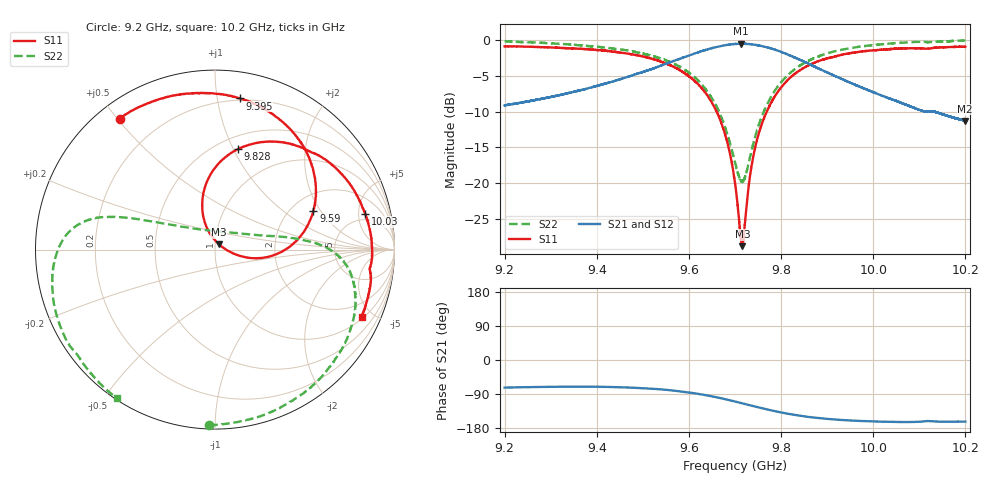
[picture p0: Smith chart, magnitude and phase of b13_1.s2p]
!Agilent Technologies,N5242A,MY51221714,A.09.90.19
!Agilent N5242A: A.09.90.19
!Date: Saturday, March 16, 2024 09:26:46
!Correction: S11(Full 2 Port(1,2))
!S21(Full 2 Port(1,2))
!S12(Full 2 Port(1,2))
!S22(Full 2 Port(1,2))
!S2P File: Measurements: S11, S21, S12, S22:
# Hz S  dB  R 50
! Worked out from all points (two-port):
!   16001 points, 9.2 GHz to 10.2 GHz, reference 50 ohm
!   highest |S21| = -0.52 dB at 9.712 GHz (marker M1); lowest = -11.3 dB at 10.2 GHz (marker M2)
!   |S21| within 3 dB of the highest: 9.541764 GHz to 9.54188 GHz (115.2 kHz wide, 0.00121 % of centre); 9.542 GHz to 9.866 GHz (324.1 MHz wide, 3.34 % of centre)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
!   lowest |S11| = -28.8 dB at 9.716 GHz (marker M3), VSWR 1.08, Z = 52.1 + j3.07 ohm
!   |S11| at or under -10 dB: 9.66 GHz to 9.769 GHz (108.8 MHz wide, 1.12 % of centre); 9.768982 GHz to 9.769009 GHz (26.89 kHz wide, 0.000275 % of centre)
!   |S22| runs from -19.9 to -0.1 dB; largest |S21 - S12| = 0.012
!   S11 on the Smith chart (normalised r, x): 9.2 GHz: 0.06, +0.51; 9.395 GHz: 0.19, +1.16; 9.59 GHz: 2.62, +1.71; 9.828 GHz: 0.62, +1.04; 10.03 GHz: 3.93, +6.02; 10.2 GHz: 1.12, -4.31
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9.2e9  -0.89 126.1  -9.14 -72.9  -9.12 -73.4  -0.18 -91.8
9.277562e9  -0.99 108.8  -8.25 -71.2  -8.23 -71.7  -0.39 -70.3
9.366688e9  -1.25 88.0  -6.99 -70.6  -6.96 -71.0  -0.76 -46.5
9.395375e9  -1.38 80.8  -6.52 -70.6  -6.48 -71.2  -0.92 -39.1
9.533375e9  -2.88 41.4  -3.72 -77.0  -3.71 -77.5  -2.46 -8.4
9.590312e9  -4.61 21.3  -2.39 -84.0  -2.38 -84.6  -4.13 1.1
9.661562e9  -10.21 -7.0  -0.95 -98.8  -0.94 -99.3  -9.51 13.0
9.684e9  -14.48 -13.9  -0.66 -104.9  -0.65 -105.4  -13.25 22.7
9.7e9  -19.92 -11.1  -0.56 -109.5  -0.53 -110.2  -17.10 41.7
9.712375e9  -27.49 23.2  -0.52 -113.4  -0.50 -113.9  -19.60 73.6
9.716125e9  -28.78 53.9  -0.53 -114.5  -0.51 -115.1  -19.82 87.1
9.735562e9  -17.71 110.3  -0.60 -120.4  -0.58 -121.1  -15.53 135.5
9.75425e9  -12.49 107.4  -0.80 -126.0  -0.78 -126.6  -11.37 149.7
9.78525e9  -8.00 95.3  -1.33 -134.6  -1.33 -135.3  -7.19 157.8
9.82825e9  -4.81 77.0  -2.41 -144.5  -2.40 -145.1  -4.14 163.0
9.866688e9  -3.33 62.1  -3.54 -151.3  -3.52 -151.9  -2.68 167.2
9.9505e9  -1.84 34.6  -5.97 -159.7  -5.98 -160.2  -1.14 -179.5
1.002894e10  -1.31 13.4  -8.02 -162.9  -8.00 -163.6  -0.54 -163.7
1.003338e10  -1.30 12.3  -8.13 -163.0  -8.11 -163.6  -0.50 -162.7
1.010556e10  -1.18 -5.0  -9.88 -162.5  -9.87 -163.0  -0.26 -146.7
1.019956e10  -0.95 -24.5  -11.30 -162.4  -11.27 -163.2  -0.07 -123.5
1.02e10  -0.94 -24.6  -11.29 -162.5  -11.27 -163.1  -0.07 -123.3
